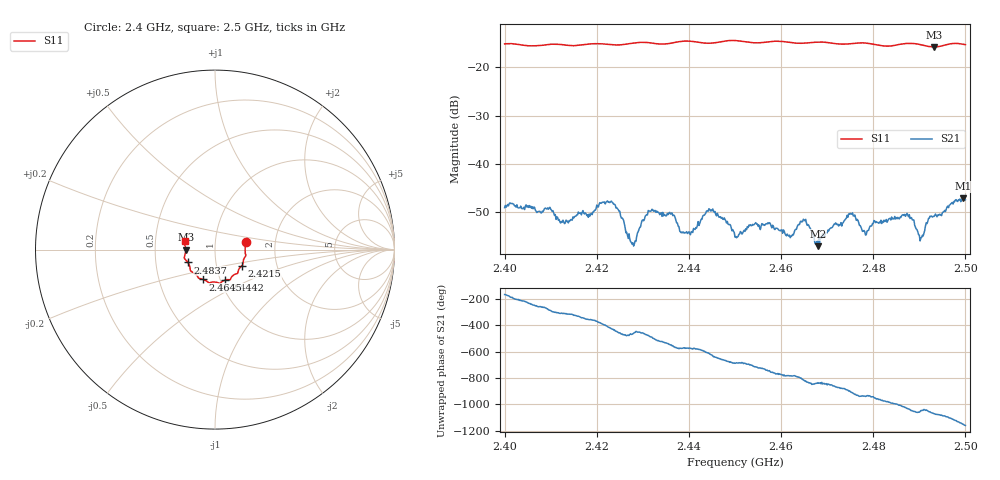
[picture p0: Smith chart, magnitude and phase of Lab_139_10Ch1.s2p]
# Hz S RI R 50
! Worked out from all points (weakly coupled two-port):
!   601 points, 2.4 GHz to 2.5 GHz, reference 50 ohm
!   highest |S21| = -47.20 dB at 2.4995 GHz (marker M1); lowest = -57.2 dB at 2.468 GHz (marker M2)
!   lowest |S11| = -15.7 dB at 2.4932 GHz (marker M3), VSWR 1.39, Z = 35.9 - j0.0512 ohm
!   |S11| at or under -10 dB: start of sweep to end of sweep
!   S12 and S22 are empty: the file has one direction only
!   S11 on the Smith chart (normalised r, x): 2.4 GHz: 1.41, +0.12; 2.4215 GHz: 1.33, -0.25; 2.4442 GHz: 1.05, -0.37; 2.4645 GHz: 0.83, -0.29; 2.4837 GHz: 0.73, -0.11; 2.5 GHz: 0.71, +0.07
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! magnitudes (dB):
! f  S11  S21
! 2.4 GHz  -15.1  -49.2
! 2.4167 GHz  -15.3  -50.6
! 2.4215 GHz  -15.1  -48.1
! 2.4245 GHz  -15.3  -49.4
! 2.4278 GHz  -14.9  -56.5
! 2.4333 GHz  -15.1  -50.1
! 2.4398 GHz  -14.5  -54.4
! 2.4442 GHz  -15.0  -49.9
! 2.45 GHz  -14.4  -55.3
! 2.4622 GHz  -14.8  -55.1
! 2.4645 GHz  -15.0  -52.1
! 2.4667 GHz  -14.8  -54.5
! 2.468 GHz  -14.7  -57.2
! 2.475 GHz  -15.1  -50.3
! 2.4782 GHz  -14.9  -54.2
! 2.4833 GHz  -15.6  -51.5
! 2.4837 GHz  -15.5  -51.4
! 2.4878 GHz  -15.0  -50.6
! 2.4903 GHz  -15.3  -55.5
! 2.4932 GHz  -15.7  -51.0
! 2.4995 GHz  -15.2  -47.2
! 2.5 GHz  -15.3  -47.5
